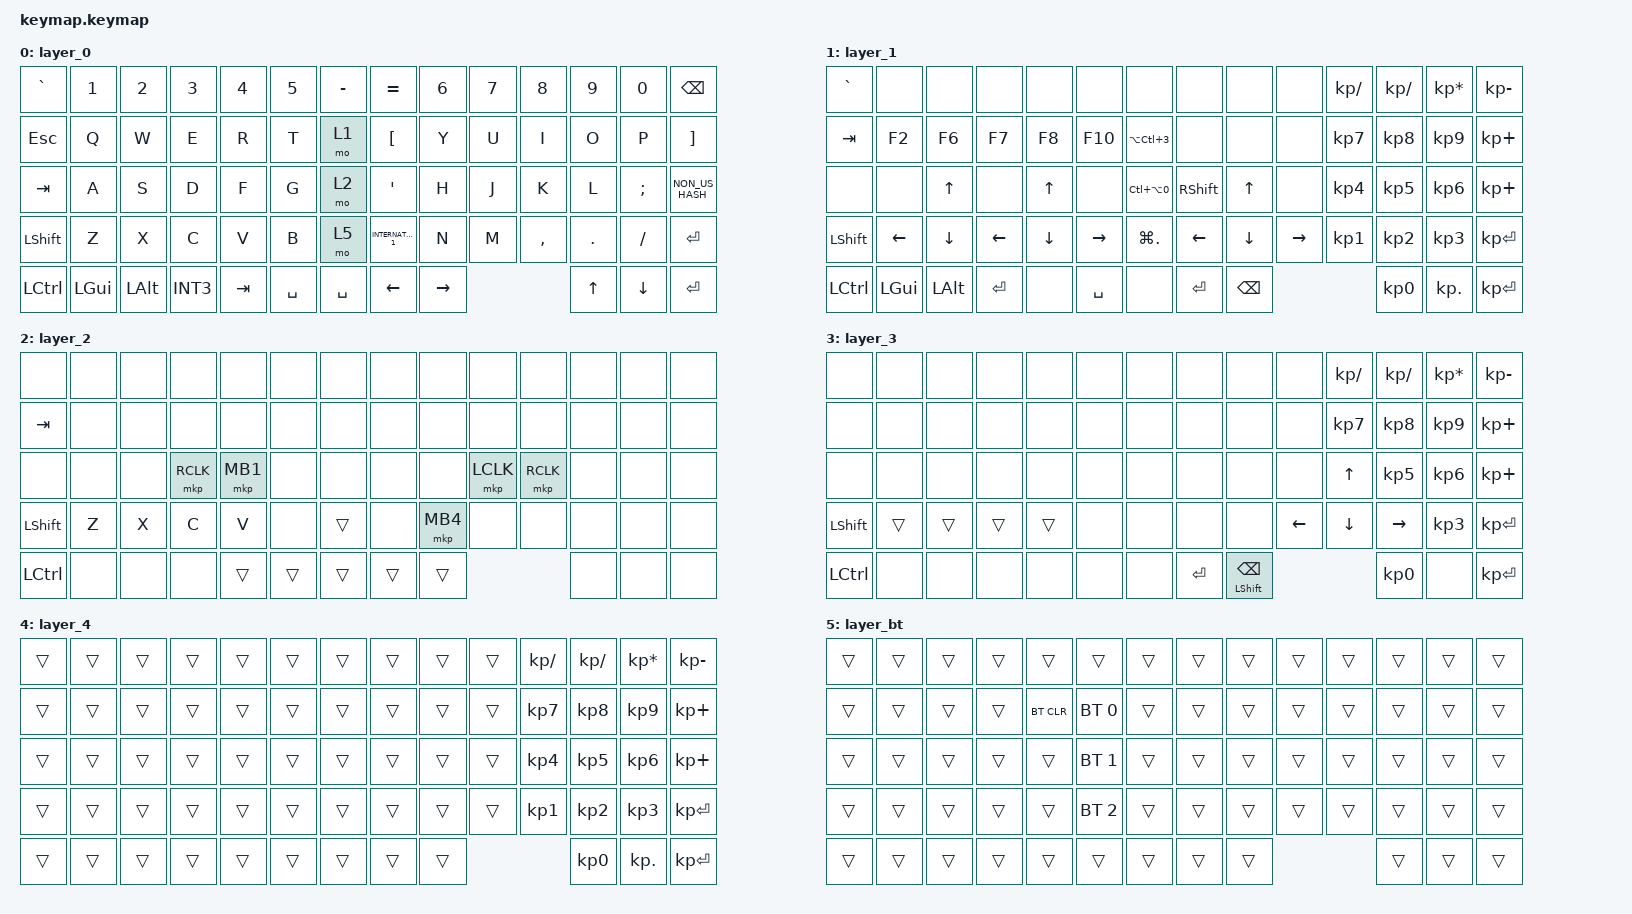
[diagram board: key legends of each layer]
#include <behaviors.dtsi>
#include <dt-bindings/zmk/bt.h>
#include <dt-bindings/zmk/keys.h>
#include <dt-bindings/zmk/pointing.h>

/ {
    combos { compatible = "zmk,combos"; };

    behaviors {
        /* ↓↓ これが tog_off の正体（設計図）です ↓↓ */

        tog_off: toggle_layer_off {
            compatible = "zmk,behavior-toggle-layer";
            #binding-cells = <1>;
            toggle-mode = "off"; /* ここが重要！「オフにする専用」の設定 */
        };
    };

    macros {
        MouseLeftMacro: MouseLeftMacro {
            compatible = "zmk,behavior-macro";
            #binding-cells = <0>;
            bindings =
                <&macro_press>,
                <&mkp LCLK>,
                <&macro_pause_for_release>,
                <&macro_release>,
                <&mkp LCLK>,
                <&macro_tap>,
                <&tog_off 2 &sl 2>;

            label = "MOUSELEFTMACRO";
        };
    };

    keymap {
        compatible = "zmk,keymap";

        layer_0 {
            bindings = <
&kp GRAVE         &kp NUMBER_1  &kp NUMBER_2  &kp NUMBER_3  &kp NUMBER_4  &kp NUMBER_5  &kp MINUS  &kp EQUAL            &kp NUMBER_6     &kp NUMBER_7  &kp NUMBER_8  &kp NUMBER_9  &kp NUMBER_0    &kp BACKSPACE
&kp ESCAPE        &kp Q         &kp W         &kp E         &kp R         &kp T         &mo 1      &kp LEFT_BRACKET     &kp Y            &kp U         &kp I         &kp O         &kp P           &kp RIGHT_BRACKET
&kp TAB           &kp A         &kp S         &kp D         &kp F         &kp G         &mo 2      &kp SQT              &kp H            &kp J         &kp K         &kp L         &kp SEMICOLON   &kp NON_US_HASH
&kp LEFT_SHIFT    &kp Z         &kp X         &kp C         &kp V         &kp B         &mo 5      &kp INTERNATIONAL_1  &kp N            &kp M         &kp COMMA     &kp PERIOD    &kp SLASH       &kp RETURN
&kp LEFT_CONTROL  &kp LEFT_GUI  &kp LEFT_ALT  &kp INT3      &kp TAB       &kp SPACE     &kp SPACE  &kp LEFT_ARROW       &kp RIGHT_ARROW                              &kp UP_ARROW  &kp DOWN_ARROW  &kp RET
            >;
        };

        layer_1 {
            bindings = <
&kp GRAVE       &none           &none           &none           &none           &none            &none                 &none            &none           &none            &kp KP_SLASH     &kp KP_SLASH     &kp KP_ASTERISK  &kp KP_MINUS
&kp TAB         &kp F2          &kp F6          &kp F7          &kp F8          &kp F10          &kp LA(LC(NUMBER_3))  &none            &none           &none            &kp KP_NUMBER_7  &kp KP_NUMBER_8  &kp KP_NUMBER_9  &kp KP_PLUS
&none           &none           &kp UP_ARROW    &none           &kp UP_ARROW    &none            &kp LC(LA(N0))        &kp RIGHT_SHIFT  &kp UP_ARROW    &none            &kp KP_N4        &kp KP_NUMBER_5  &kp KP_NUMBER_6  &kp KP_PLUS
&kp LEFT_SHIFT  &kp LEFT_ARROW  &kp DOWN_ARROW  &kp LEFT_ARROW  &kp DOWN_ARROW  &kp RIGHT_ARROW  &kp LG(PERIOD)        &kp LEFT_ARROW   &kp DOWN_ARROW  &kp RIGHT_ARROW  &kp KP_N1        &kp KP_N2        &kp KP_NUMBER_3  &kp KP_ENTER
&kp LCTRL       &kp LEFT_GUI    &kp LEFT_ALT    &kp ENTER       &none           &kp SPACE        &none                 &kp ENTER        &kp BACKSPACE                                     &kp KP_NUMBER_0  &kp KP_DOT       &kp KP_ENTER
            >;
        };

        layer_2 {
            bindings = <
&none           &none  &none  &none      &none     &none   &none   &none   &none     &none      &none      &none  &none  &none
&kp TAB         &none  &none  &none      &none     &none   &none   &none   &none     &none      &none      &none  &none  &none
&none           &none  &none  &mkp RCLK  &mkp MB1  &none   &none   &none   &none     &mkp LCLK  &mkp RCLK  &none  &none  &none
&kp LEFT_SHIFT  &kp Z  &kp X  &kp C      &kp V     &none   &trans  &none   &mkp MB4  &none      &none      &none  &none  &none
&kp LCTRL       &none  &none  &none      &trans    &trans  &trans  &trans  &trans                          &none  &none  &none
            >;
        };

        layer_3 {
            bindings = <
&none           &none   &none   &none   &none   &none  &none  &none      &none                     &none           &kp KP_SLASH    &kp KP_SLASH     &kp KP_MULTIPLY  &kp KP_MINUS
&none           &none   &none   &none   &none   &none  &none  &none      &none                     &none           &kp KP_N7       &kp KP_N8        &kp KP_N9        &kp KP_PLUS
&none           &none   &none   &none   &none   &none  &none  &none      &none                     &none           &kp UP_ARROW    &kp KP_N5        &kp KP_N6        &kp KP_PLUS
&kp LEFT_SHIFT  &trans  &trans  &trans  &trans  &none  &none  &none      &none                     &kp LEFT_ARROW  &kp DOWN_ARROW  &kp RIGHT_ARROW  &kp KP_NUMBER_3  &kp KP_ENTER
&kp LCTRL       &none   &none   &none   &none   &none  &none  &kp ENTER  &mt LEFT_SHIFT BACKSPACE                                  &kp KP_N0        &none            &kp KP_ENTER
            >;
        };

        layer_4 {
            bindings = <
&trans  &trans  &trans  &trans  &trans  &trans  &trans  &trans  &trans  &trans  &kp KP_SLASH  &kp KP_SLASH  &kp KP_MULTIPLY  &kp KP_MINUS
&trans  &trans  &trans  &trans  &trans  &trans  &trans  &trans  &trans  &trans  &kp KP_N7     &kp KP_N8     &kp KP_N9        &kp KP_PLUS
&trans  &trans  &trans  &trans  &trans  &trans  &trans  &trans  &trans  &trans  &kp KP_N4     &kp KP_N5     &kp KP_N6        &kp KP_PLUS
&trans  &trans  &trans  &trans  &trans  &trans  &trans  &trans  &trans  &trans  &kp KP_N1     &kp KP_N2     &kp KP_N3        &kp KP_ENTER
&trans  &trans  &trans  &trans  &trans  &trans  &trans  &trans  &trans                        &kp KP_N0     &kp KP_DOT       &kp KP_ENTER
            >;
        };

        layer_bt {
            bindings = <
&trans  &trans  &trans  &trans  &trans      &trans        &trans  &trans  &trans  &trans  &trans  &trans  &trans  &trans
&trans  &trans  &trans  &trans  &bt BT_CLR  &bt BT_SEL 0  &trans  &trans  &trans  &trans  &trans  &trans  &trans  &trans
&trans  &trans  &trans  &trans  &trans      &bt BT_SEL 1  &trans  &trans  &trans  &trans  &trans  &trans  &trans  &trans
&trans  &trans  &trans  &trans  &trans      &bt BT_SEL 2  &trans  &trans  &trans  &trans  &trans  &trans  &trans  &trans
&trans  &trans  &trans  &trans  &trans      &trans        &trans  &trans  &trans                  &trans  &trans  &trans
            >;
        };
    };
};
